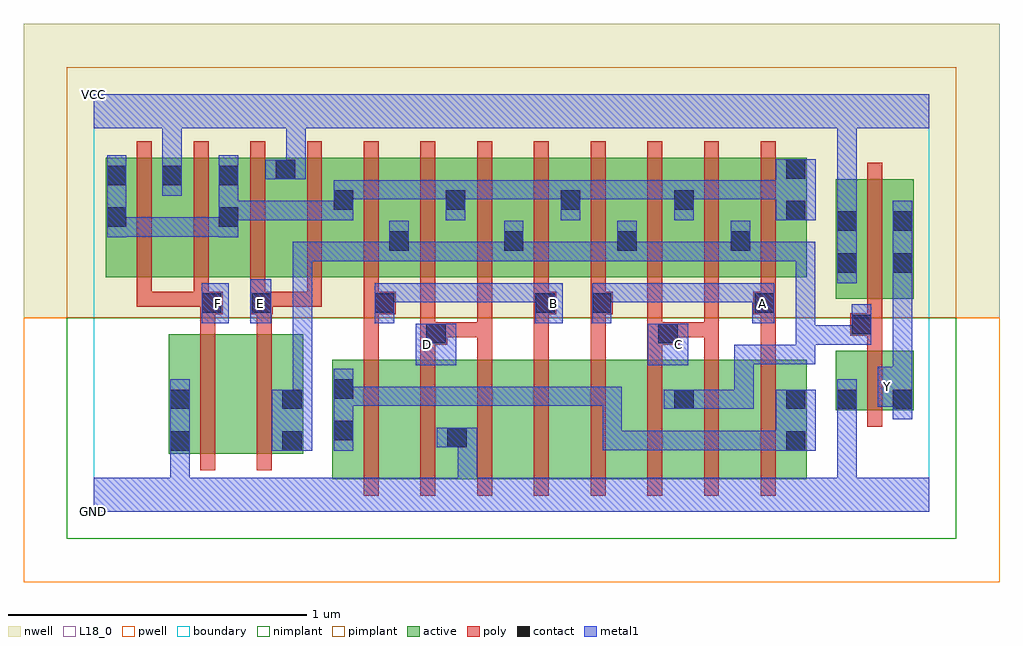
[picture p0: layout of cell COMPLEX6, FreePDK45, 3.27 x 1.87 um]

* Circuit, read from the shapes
.subckt COMPLEX6 A B C D E F GND VCC Y
M1 n1 F GND VSUBS nfet w=0.4u l=0.05u
M2 n2 E n1 VSUBS nfet w=0.4u l=0.05u
M3 n3 B n4 VSUBS nfet w=0.4u l=0.05u
M4 GND D n3 VSUBS nfet w=0.4u l=0.05u
M5 n5 D GND VSUBS nfet w=0.4u l=0.05u
M6 n6 B n5 VSUBS nfet w=0.4u l=0.05u
M7 n7 A n6 VSUBS nfet w=0.4u l=0.05u
M8 n2 C n7 VSUBS nfet w=0.4u l=0.05u
M9 n8 C n2 VSUBS nfet w=0.4u l=0.05u
M10 n4 A n8 VSUBS nfet w=0.4u l=0.05u
M11 Y n2 GND VSUBS nfet w=0.2u l=0.05u
M12 VCC F n9 n10 pfet w=0.4u l=0.05u m=2
M13 VCC E n9 n10 pfet w=0.4u l=0.05u m=2
M14 n2 B n9 n10 pfet w=0.4u l=0.05u m=2
M15 n9 D n2 n10 pfet w=0.4u l=0.05u m=2
M16 n2 A n9 n10 pfet w=0.4u l=0.05u m=2
M17 n9 C n2 n10 pfet w=0.4u l=0.05u m=2
M18 Y n2 VCC n10 pfet w=0.4u l=0.05u
.ends

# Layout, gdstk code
import gdstk
lib = gdstk.Library(unit=1e-6, precision=1e-09)
def R(c, l, rs):  # rectangles x0, y0, x1, y1
    for r in rs: c.add(gdstk.rectangle(r[:2], r[2:], *l))
def A(c, l, x, y, w, h, nx, ny, dx, dy):  # array of equal rectangles
    R(c, l, [(x+i*dx, y+j*dy, x+i*dx+w, y+j*dy+h) for i in range(nx) for j in range(ny)])
active = (1, 0)
pwell = (2, 0)
nwell = (3, 0)
nimplant = (4, 0)
pimplant = (5, 0)
poly = (9, 0)
contact = (10, 0)
metal1 = (11, 0)
L18_0 = (18, 0)
boundary = (235, 0)

complex6 = lib.new_cell('COMPLEX6')
A(complex6, active, 1.37, 0.787, 0.265, 0.4, 4, 1, 0.19, 0)
R(complex6, active, [(0.8,0.11,1.025,0.51), (1.025,0.11,1.255,0.51), (1.18,0.11,1.405,0.51), (1.405,0.11,1.595,0.51), (1.595,0.11,1.785,0.51), (1.785,0.11,2.015,0.51), (1.94,0.11,2.165,0.51), (2.165,0.11,2.39,0.51), (0.252,0.195,0.477,0.595), (0.252,0.195,0.327,0.595), (0.477,0.195,0.702,0.595), (0.627,0.195,0.702,0.595), (0.8,0.195,0.905,0.51), (1.18,0.195,1.255,0.477), (1.94,0.195,2.015,0.492), (2.315,0.195,2.39,0.51), (2.487,0.34,2.562,0.54), (2.487,0.34,2.747,0.54), (2.672,0.34,2.747,0.54), (2.487,0.715,2.562,1.105), (2.487,0.715,2.747,1.115), (2.672,0.715,2.747,1.105), (0.04,0.787,0.115,1.187), (0.04,0.787,0.3,1.187), (0.225,0.787,0.49,1.187), (0.415,0.787,0.68,1.187), (0.605,0.787,0.875,1.187), (0.8,0.787,1.06,1.187), (0.985,0.787,1.25,1.187), (1.175,0.787,1.445,1.187), (2.13,0.787,2.39,1.187), (2.13,0.787,2.205,1.07), (0.225,0.802,0.3,1.187), (0.985,0.802,1.06,1.07), (1.75,0.802,1.825,1.07), (2.315,0.802,2.39,1.187), (0.8,0.832,0.875,1.105), (1.56,0.832,1.635,1.105), (0.605,0.835,0.68,1.187), (1.37,0.87,1.445,1.07), (0.415,0.907,0.49,1.165), (1.175,0.907,1.25,1.105), (1.94,0.907,2.015,1.105)])
R(complex6, pwell, [(-0.235,-0.235,3.035,0.65)])
R(complex6, nwell, [(-0.235,0.65,3.035,1.635)])
R(complex6, nimplant, [(-0.09,-0.09,2.89,0.65)])
R(complex6, pimplant, [(-0.09,0.65,2.89,1.49)])
A(complex6, poly, 0.905, 0.055, 0.05, 0.51, 8, 1, 0.19, 0)
A(complex6, poly, 0.145, 0.687, 0.05, 0.095, 5, 1, 0.19, 0)
A(complex6, poly, 0.145, 0.732, 0.05, 0.51, 12, 1, 0.19, 0)
R(complex6, poly, [(0.357,0.14,0.407,0.65), (0.547,0.14,0.597,0.65), (2.592,0.285,2.642,0.595), (0.905,0.515,0.955,0.712), (1.095,0.515,1.145,0.61), (1.285,0.515,1.335,0.635), (1.475,0.515,1.525,0.712), (1.665,0.515,1.715,0.712), (1.855,0.515,1.905,0.61), (2.045,0.515,2.095,0.635), (2.235,0.515,2.285,0.712), (2.592,0.545,2.642,0.64), (1.095,0.56,1.185,0.635), (1.855,0.56,1.962,0.635), (1.095,0.585,1.145,0.635), (1.095,0.585,1.145,0.635), (1.095,0.585,1.145,0.782), (1.135,0.585,1.185,0.635), (1.135,0.585,1.185,0.635), (1.135,0.585,1.335,0.635), (1.285,0.585,1.335,0.635), (1.285,0.585,1.335,0.635), (1.285,0.585,1.335,0.635), (1.285,0.585,1.335,0.782), (1.855,0.585,1.905,0.635), (1.855,0.585,1.905,0.635), (1.855,0.585,1.905,0.782), (1.912,0.585,1.962,0.635), (1.912,0.585,1.962,0.635), (1.912,0.585,2.095,0.635), (2.045,0.585,2.095,0.635), (2.045,0.585,2.095,0.635), (2.045,0.585,2.095,0.635), (2.045,0.585,2.095,0.782), (2.535,0.59,2.642,0.665), (2.592,0.59,2.642,0.64), (2.592,0.59,2.642,0.64), (0.357,0.6,0.407,0.712), (0.547,0.6,0.597,0.712), (2.592,0.615,2.642,0.71), (2.592,0.66,2.642,1.17), (0.357,0.662,0.432,0.737), (0.525,0.662,0.6,0.737), (0.547,0.662,0.597,0.712), (0.547,0.662,0.597,0.712), (0.905,0.662,0.955,0.712), (0.905,0.662,0.955,0.712), (0.905,0.662,1.012,0.737), (1.475,0.662,1.525,0.712), (1.475,0.662,1.525,0.712), (1.475,0.662,1.55,0.737), (1.665,0.662,1.715,0.712), (1.665,0.662,1.715,0.712), (1.665,0.662,1.74,0.737), (2.21,0.662,2.285,0.737), (2.235,0.662,2.285,0.712), (2.235,0.662,2.285,0.712), (0.145,0.687,0.195,0.737), (0.145,0.687,0.385,0.737), (0.335,0.687,0.385,0.737), (0.335,0.687,0.385,0.737), (0.335,0.687,0.407,0.737), (0.357,0.687,0.407,0.737), (0.55,0.687,0.765,0.737), (0.715,0.687,0.765,0.737), (0.715,0.687,0.765,0.737), (0.715,0.687,0.765,0.737), (1.475,0.687,1.525,0.782), (1.665,0.687,1.715,0.782), (2.235,0.687,2.285,0.782)])
A(complex6, contact, 1.375, 0.875, 0.065, 0.065, 3, 1, 0.38, 0)
R(complex6, contact, [(0.257,0.205,0.322,0.27), (0.632,0.205,0.697,0.27), (2.32,0.205,2.385,0.27), (1.185,0.217,1.25,0.282), (0.805,0.24,0.87,0.305), (0.257,0.345,0.322,0.41), (0.632,0.345,0.697,0.41), (1.945,0.345,2.01,0.41), (2.32,0.345,2.385,0.41), (2.492,0.345,2.557,0.41), (2.677,0.345,2.742,0.41), (0.805,0.38,0.87,0.445), (1.115,0.565,1.18,0.63), (1.892,0.565,1.957,0.63), (2.54,0.595,2.605,0.66), (0.362,0.667,0.427,0.732), (0.53,0.667,0.595,0.732), (0.942,0.667,1.007,0.732), (1.48,0.667,1.545,0.732), (1.67,0.667,1.735,0.732), (2.215,0.667,2.28,0.732), (2.492,0.802,2.557,0.867), (2.677,0.802,2.742,0.867), (0.99,0.875,1.055,0.94), (2.492,0.942,2.557,1.007), (2.677,0.942,2.742,1.007), (0.045,0.955,0.11,1.02), (0.42,0.955,0.485,1.02), (2.32,0.977,2.385,1.042), (0.805,1.012,0.87,1.077), (1.18,1.012,1.245,1.077), (1.565,1.012,1.63,1.077), (1.945,1.012,2.01,1.077), (0.045,1.095,0.11,1.16), (0.23,1.095,0.295,1.16), (0.42,1.095,0.485,1.16), (0.61,1.115,0.675,1.18), (2.32,1.117,2.385,1.182)])
A(complex6, metal1, 1.375, 0.84, 0.065, 0.135, 3, 1, 0.38, 0)
R(complex6, metal1, [(0,0,2.8,0.115), (0.257,0.05,0.322,0.235), (1.22,0.05,1.285,0.282), (2.492,0.05,2.557,0.115), (2.492,0.05,2.557,0.115), (2.492,0.05,2.557,0.115), (2.492,0.05,2.557,0.115), (2.492,0.05,2.557,0.375), (0.257,0.17,0.322,0.445), (0.597,0.205,0.732,0.41), (0.805,0.205,0.87,0.48), (2.285,0.205,2.42,0.41), (1.705,0.207,1.77,0.272), (1.705,0.207,1.907,0.272), (1.705,0.207,1.77,0.42), (1.842,0.207,1.907,0.272), (1.842,0.207,2.062,0.272), (1.997,0.207,2.062,0.272), (1.997,0.207,2.062,0.272), (1.997,0.207,2.062,0.272), (1.997,0.207,2.2,0.272), (2.135,0.207,2.2,0.272), (2.135,0.207,2.2,0.272), (2.135,0.207,2.2,0.272), (2.135,0.207,2.35,0.272), (1.15,0.217,1.285,0.282), (2.492,0.31,2.557,0.445), (2.677,0.31,2.742,0.445), (0.667,0.345,0.732,0.905), (1.91,0.345,2.045,0.41), (1.98,0.345,2.045,0.41), (1.98,0.345,2.045,0.41), (1.98,0.345,2.212,0.41), (2.147,0.345,2.212,0.41), (2.147,0.345,2.212,0.56), (2.627,0.352,2.742,0.487), (0.805,0.355,0.87,0.42), (0.805,0.355,0.87,0.42), (0.805,0.355,1.055,0.42), (0.99,0.355,1.055,0.42), (0.99,0.355,1.192,0.42), (1.127,0.355,1.192,0.42), (1.127,0.355,1.192,0.42), (1.127,0.355,1.192,0.42), (1.127,0.355,1.407,0.42), (1.342,0.355,1.407,0.42), (1.342,0.355,1.407,0.42), (1.342,0.355,1.407,0.42), (1.342,0.355,1.597,0.42), (1.532,0.355,1.597,0.42), (1.532,0.355,1.597,0.42), (1.532,0.355,1.597,0.42), (1.532,0.355,1.77,0.42), (1.705,0.355,1.77,0.42), (1.705,0.355,1.77,0.42), (1.705,0.355,1.77,0.42), (2.677,0.38,2.742,0.445), (2.677,0.422,2.742,0.832), (1.08,0.492,1.215,0.63), (1.857,0.492,1.992,0.63), (2.147,0.495,2.212,0.56), (2.147,0.495,2.417,0.56), (2.352,0.495,2.417,0.56), (2.352,0.495,2.417,0.56), (2.352,0.495,2.417,0.56), (2.352,0.495,2.417,0.625), (2.352,0.56,2.417,0.625), (2.352,0.56,2.555,0.625), (2.352,0.56,2.417,0.905), (2.49,0.56,2.555,0.625), (2.49,0.56,2.605,0.625), (2.54,0.56,2.605,0.695), (0.362,0.632,0.452,0.767), (0.525,0.632,0.595,0.78), (0.942,0.632,1.007,0.767), (1.48,0.632,1.572,0.767), (1.67,0.632,1.735,0.767), (2.207,0.632,2.28,0.767), (0.942,0.702,1.007,0.767), (0.942,0.702,1.007,0.767), (0.942,0.702,1.192,0.767), (1.127,0.702,1.192,0.767), (1.127,0.702,1.192,0.767), (1.127,0.702,1.192,0.767), (1.127,0.702,1.407,0.767), (1.342,0.702,1.407,0.767), (1.342,0.702,1.407,0.767), (1.342,0.702,1.407,0.767), (1.342,0.702,1.545,0.767), (1.67,0.702,1.785,0.767), (1.72,0.702,1.785,0.767), (1.72,0.702,1.907,0.767), (1.842,0.702,1.907,0.767), (1.842,0.702,2.062,0.767), (1.997,0.702,2.062,0.767), (1.997,0.702,2.062,0.767), (1.997,0.702,2.062,0.767), (1.997,0.702,2.212,0.767), (2.147,0.702,2.212,0.767), (2.147,0.702,2.272,0.767), (2.492,0.767,2.557,1.042), (2.677,0.767,2.742,0.832), (2.677,0.767,2.742,0.832), (2.677,0.767,2.742,1.042), (0.667,0.84,0.732,0.905), (0.667,0.84,0.732,0.905), (0.667,0.84,0.732,0.905), (0.667,0.84,0.732,0.905), (0.667,0.84,0.732,0.905), (0.667,0.84,0.87,0.905), (0.805,0.84,0.87,0.905), (0.805,0.84,0.87,0.905), (0.805,0.84,0.87,0.905), (0.805,0.84,0.87,0.905), (0.805,0.84,0.87,0.905), (0.805,0.84,1.055,0.905), (0.99,0.84,1.055,0.975), (0.99,0.84,1.192,0.905), (1.127,0.84,1.192,0.905), (1.127,0.84,1.192,0.905), (1.127,0.84,1.192,0.905), (1.127,0.84,1.382,0.905), (1.317,0.84,1.382,0.905), (1.317,0.84,1.44,0.905), (1.375,0.84,1.597,0.905), (1.532,0.84,1.597,0.905), (1.532,0.84,1.597,0.905), (1.532,0.84,1.597,0.905), (1.532,0.84,1.77,0.905), (1.705,0.84,1.77,0.905), (1.705,0.84,1.82,0.905), (1.755,0.84,1.907,0.905), (1.842,0.84,1.907,0.905), (1.842,0.84,2.045,0.905), (1.98,0.84,2.045,0.905), (1.98,0.84,2.045,0.905), (1.98,0.84,2.045,0.905), (1.98,0.84,2.2,0.905), (2.135,0.84,2.2,0.905), (2.135,0.84,2.2,0.905), (2.135,0.84,2.417,0.905), (2.352,0.84,2.417,0.905), (0.045,0.92,0.11,1.195), (0.42,0.92,0.485,1.195), (0.045,0.922,0.11,0.987), (0.045,0.922,0.11,0.987), (0.045,0.922,0.347,0.987), (0.282,0.922,0.347,0.987), (0.282,0.922,0.347,0.987), (0.282,0.922,0.347,0.987), (0.282,0.922,0.485,0.987), (0.42,0.977,0.485,1.042), (0.42,0.977,0.485,1.042), (0.42,0.977,0.732,1.042), (0.667,0.977,0.732,1.042), (0.667,0.977,0.732,1.042), (0.667,0.977,0.732,1.042), (0.667,0.977,0.732,1.042), (0.667,0.977,0.732,1.042), (0.667,0.977,0.87,1.042), (0.805,0.977,0.87,1.112), (1.18,0.977,1.245,1.112), (1.565,0.977,1.63,1.112), (1.945,0.977,2.01,1.112), (2.285,0.977,2.42,1.182), (2.492,0.977,2.557,1.35), (0.805,1.047,0.87,1.112), (0.805,1.047,0.87,1.112), (0.805,1.047,1.007,1.112), (0.942,1.047,1.007,1.112), (0.942,1.047,1.245,1.112), (1.18,1.047,1.245,1.112), (1.18,1.047,1.245,1.112), (1.18,1.047,1.407,1.112), (1.342,1.047,1.407,1.112), (1.342,1.047,1.46,1.112), (1.395,1.047,1.46,1.112), (1.395,1.047,1.597,1.112), (1.532,1.047,1.597,1.112), (1.532,1.047,1.63,1.112), (1.565,1.047,1.77,1.112), (1.705,1.047,1.77,1.112), (1.705,1.047,1.77,1.112), (1.705,1.047,1.77,1.112), (1.705,1.047,1.907,1.112), (1.842,1.047,1.907,1.112), (1.842,1.047,2.01,1.112), (1.945,1.047,2.045,1.112), (1.98,1.047,2.045,1.112), (1.98,1.047,2.2,1.112), (2.135,1.047,2.2,1.112), (2.135,1.047,2.35,1.112), (2.285,1.047,2.35,1.112), (2.285,1.047,2.35,1.112), (0.23,1.06,0.295,1.195), (0.575,1.115,0.71,1.18), (0.645,1.115,0.71,1.35), (0.23,1.13,0.295,1.35), (0,1.285,2.8,1.4)])
R(complex6, L18_0, [(0,0,2.8,0.115), (0.257,0.05,0.322,0.235), (1.22,0.05,1.285,0.282), (2.492,0.05,2.557,0.115), (2.492,0.05,2.557,0.115), (2.492,0.05,2.557,0.115), (2.492,0.05,2.557,0.115), (2.492,0.05,2.557,0.375), (0.257,0.17,0.322,0.445), (1.15,0.217,1.285,0.282), (2.492,0.31,2.557,0.445), (2.677,0.31,2.742,0.445), (2.627,0.352,2.742,0.487), (2.677,0.38,2.742,0.445), (2.627,0.387,2.692,0.452), (2.677,0.422,2.742,0.832), (1.08,0.492,1.215,0.63), (1.857,0.492,1.992,0.63), (1.087,0.527,1.152,0.592), (1.927,0.527,1.992,0.592), (0.362,0.632,0.452,0.767), (0.525,0.632,0.595,0.78), (0.942,0.632,1.007,0.767), (1.48,0.632,1.572,0.767), (1.67,0.632,1.735,0.767), (2.207,0.632,2.28,0.767), (0.387,0.667,0.452,0.732), (0.527,0.667,0.592,0.732), (1.507,0.667,1.572,0.732), (2.207,0.667,2.272,0.732), (0.942,0.702,1.007,0.767), (0.942,0.702,1.007,0.767), (0.942,0.702,1.192,0.767), (1.127,0.702,1.192,0.767), (1.127,0.702,1.192,0.767), (1.127,0.702,1.192,0.767), (1.127,0.702,1.407,0.767), (1.342,0.702,1.407,0.767), (1.342,0.702,1.407,0.767), (1.342,0.702,1.407,0.767), (1.342,0.702,1.545,0.767), (1.67,0.702,1.785,0.767), (1.72,0.702,1.785,0.767), (1.72,0.702,1.907,0.767), (1.842,0.702,1.907,0.767), (1.842,0.702,2.062,0.767), (1.997,0.702,2.062,0.767), (1.997,0.702,2.062,0.767), (1.997,0.702,2.062,0.767), (1.997,0.702,2.212,0.767), (2.147,0.702,2.212,0.767), (2.147,0.702,2.272,0.767), (2.492,0.767,2.557,1.042), (2.677,0.767,2.742,1.042), (2.677,0.767,2.742,0.832), (2.677,0.767,2.742,0.832), (2.492,0.977,2.557,1.35), (0.23,1.06,0.295,1.195), (0.575,1.115,0.71,1.18), (0.645,1.115,0.71,1.35), (0.23,1.13,0.295,1.35), (0,1.285,2.8,1.4)])
R(complex6, boundary, [(0,0,2.8,1.4)])
complex6.add(gdstk.Label('A', (2.24,0.7), layer=11, texttype=0))
complex6.add(gdstk.Label('B', (1.54,0.7), layer=11, texttype=0))
complex6.add(gdstk.Label('C', (1.96,0.56), layer=11, texttype=0))
complex6.add(gdstk.Label('D', (1.12,0.56), layer=11, texttype=0))
complex6.add(gdstk.Label('E', (0.56,0.7), layer=11, texttype=0))
complex6.add(gdstk.Label('F', (0.42,0.7), layer=11, texttype=0))
complex6.add(gdstk.Label('Y', (2.66,0.42), layer=11, texttype=0))
complex6.add(gdstk.Label('VCC', (0,1.4), layer=11, texttype=0))
complex6.add(gdstk.Label('GND', (0,0), layer=11, texttype=0))

lib.write_gds('COMPLEX6.gds')
